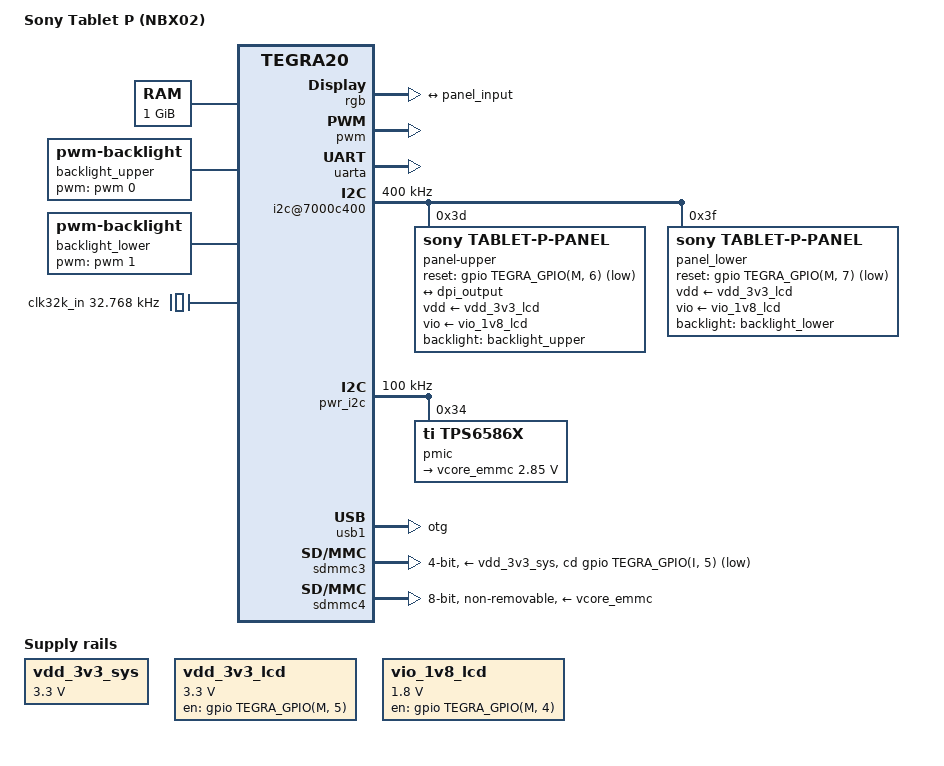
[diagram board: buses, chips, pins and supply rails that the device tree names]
// SPDX-License-Identifier: GPL-2.0
/dts-v1/;

#include <dt-bindings/input/input.h>
#include "tegra20.dtsi"

/ {
        model = "Sony Tablet P (NBX02)";
        compatible = "sony,nbx02", "nvidia,tegra20";

	chosen {
		stdout-path = &uarta;
	};

	aliases {
		i2c0 = &pwr_i2c;

		mmc0 = &sdmmc4; /* eMMC */
		mmc1 = &sdmmc3; /* MicroSD */

		rtc0 = &pmic;
		rtc1 = "/rtc@7000e000";

		usb0 = &usb1;
	};

	memory {
		device_type = "memory";
		reg = <0x00000000 0x40000000>;
	};

	host1x@50000000 {
		dc@54200000 {
			rgb {
				status = "okay";

				port {
					dpi_output: endpoint {
						remote-endpoint = <&panel_input>;
					};
				};
			};
		};
	};

	pwm: pwm@7000a000 {
		status = "okay";
	};

	bsev@6001b000 {
		status = "okay";
	};

	pinmux@70000014 {
		pinctrl-names = "default";
		pinctrl-0 = <&state_default>;

		state_default: pinmux {
			ata {
				nvidia,pins = "ata", "atc", "atd", "ate";
				nvidia,function = "ide";
			};
			atb {
				nvidia,pins = "atb", "gma", "gme";
				nvidia,function = "sdio4";
			};
			cdev1 {
				nvidia,pins = "cdev1";
				nvidia,function = "plla_out";
			};
			cdev2 {
				nvidia,pins = "cdev2";
				nvidia,function = "osc";
			};
			crtp {
				nvidia,pins = "crtp";
				nvidia,function = "crt";
			};
			csus {
				nvidia,pins = "csus";
				nvidia,function = "vi_sensor_clk";
			};
			dap1 {
				nvidia,pins = "dap1";
				nvidia,function = "dap1";
			};
			dap2 {
				nvidia,pins = "dap2";
				nvidia,function = "dap2";
			};
			dap3 {
				nvidia,pins = "dap3";
				nvidia,function = "dap3";
			};
			dap4 {
				nvidia,pins = "dap4";
				nvidia,function = "dap4";
			};
			ddc {
				nvidia,pins = "ddc", "dtb", "dte", "spdi",
					"spdo";
				nvidia,function = "rsvd2";
			};
			dta {
				nvidia,pins = "dta", "dtc", "dtd", "lcsn", "ldc",
					"lm0", "lpp", "lpw1", "lvp0", "lvp1", "spif",
					"uac";
				nvidia,function = "rsvd4";
			};
			dtf {
				nvidia,pins = "dtf";
				nvidia,function = "i2c3";
			};
			gmb {
				nvidia,pins = "gmb", "gmd", "spia", "spib", "spic",
					"spid", "spie";
				nvidia,function = "gmi";
			};
			gmc {
				nvidia,pins = "gmc", "slxc", "slxd";
				nvidia,function = "spi4";
			};
			gpu {
				nvidia,pins = "gpu";
				nvidia,function = "pwm";
			};
			gpu7 {
				nvidia,pins = "gpu7";
				nvidia,function = "rtck";
			};
			gpv {
				nvidia,pins = "gpv", "slxa", "slxk";
				nvidia,function = "pcie";
			};
			hdint {
				nvidia,pins = "hdint";
				nvidia,function = "hdmi";
			};
			i2cp {
				nvidia,pins = "i2cp", "rm";
				nvidia,function = "i2c1";
			};
			irrx {
				nvidia,pins = "irrx", "irtx";
				nvidia,function = "uarta";
			};
			kbca {
				nvidia,pins = "kbca", "kbcb", "kbcc", "kbcd",
					"kbce", "kbcf";
				nvidia,function = "kbc";
			};
			ld0 {
				nvidia,pins = "ld0", "ld1", "ld2", "ld3", "ld4",
					"ld5", "ld6", "ld7", "ld8", "ld9",
					"ld10", "ld11", "ld12", "ld13", "ld14",
					"ld15", "ld16", "ld17", "ldi", "lhp0",
					"lhp1", "lhp2", "lhs", "lpw0", "lpw2",
					"lsc0", "lsc1", "lsck", "lsda", "lsdi",
					"lspi", "lvs";
				nvidia,function = "displaya";
			};
			lm1 {
				nvidia,pins = "lm1";
				nvidia,function = "rsvd3";
			};
			owc {
				nvidia,pins = "owc";
				nvidia,function = "owr";
			};
			pmc {
				nvidia,pins = "pmc";
				nvidia,function = "pwr_on";
			};
			pta {
				nvidia,pins = "pta";
				nvidia,function = "i2c2";
			};
			sdb {
				nvidia,pins = "sdb", "sdc", "sdd";
				nvidia,function = "sdio3";
			};
			sdio1 {
				nvidia,pins = "sdio1";
				nvidia,function = "sdio1";
			};
			spig {
				nvidia,pins = "spig", "spih";
				nvidia,function = "spi2_alt";
			};
			uaa {
				nvidia,pins = "uaa", "uab";
				nvidia,function = "mipi_hs";
			};
			uad {
				nvidia,pins = "uad";
				nvidia,function = "irda";
			};
			uca {
				nvidia,pins = "uca", "ucb";
				nvidia,function = "uartc";
			};
			uda {
				nvidia,pins = "uda";
				nvidia,function = "uartd";
			};
			conf_ata {
				nvidia,pins = "ata", "atb", "atc", "atd",
					"dap1", "dap3", "dap4", "dtb", "dtc",
					"dte", "dtf", "gma", "gmc",
					"gme", "gpu", "gpu7", "gpv", "i2cp",
					"pmc", "pta", "rm", "sdb", "slxd",
					"spdi", "spdo", "uac", "uda";
				nvidia,pull = <TEGRA_PIN_PULL_NONE>;
				nvidia,tristate = <TEGRA_PIN_DISABLE>;
			};
			conf_ate {
				nvidia,pins = "ate", "crtp", "gmb",
					"gmd", "slxc", "slxk";
				nvidia,pull = <TEGRA_PIN_PULL_NONE>;
				nvidia,tristate = <TEGRA_PIN_ENABLE>;
			};
			conf_cdev1 {
				nvidia,pins = "cdev1", "cdev2", "csus", "dap2",
					"dtd", "kbcb", "ld0", "ld1", "ld2", "ld3",
					"ld4", "ld5", "ld6", "ld7", "ld8", "ld9",
					"ld10", "ld11", "ld12", "ld13", "ld14",
					"ld15", "ld16", "ld17", "ldi", "lhp0",
					"lhp1", "lhp2", "lpp", "lvp1", "ck32",
					"ddrc", "pmca", "pmcb",	"pmcc", "pmcd",
					"xm2c", "xm2d";
				nvidia,pull = <TEGRA_PIN_PULL_DOWN>;
				nvidia,tristate = <TEGRA_PIN_DISABLE>;
			};
			conf_crtp {
				nvidia,pins = "spig", "spih", "hdint",
					"lcsn", "ldc", "lm1", "lpw1", "lsck",
					"lsda", "lsdi", "lvp0", "owc", "spic",
					"spie";
				nvidia,pull = <TEGRA_PIN_PULL_UP>;
				nvidia,tristate = <TEGRA_PIN_ENABLE>;
			};
			conf_dte {
				nvidia,pins = "spif", "spia", "spib", "spid";
				nvidia,pull = <TEGRA_PIN_PULL_DOWN>;
				nvidia,tristate = <TEGRA_PIN_ENABLE>;
			};
			conf_kbca {
				nvidia,pins = "ddc", "dta", "irrx", "irtx",
					"kbca", "kbcc", "kbcd", "kbce", "kbcf",
					"sdio1", "lhs", "lm0", "lpw0", "lpw2",
					"lsc0", "lsc1", "lspi", "lvs", "sdc",
					"sdd", "slxa", "uaa", "uab", "uad",
					"uca", "ucb", "pmce";
				nvidia,pull = <TEGRA_PIN_PULL_UP>;
				nvidia,tristate = <TEGRA_PIN_DISABLE>;
			};
			drive_ao1 {
				nvidia,pins = "drive_ao1", "drive_ao2", "drive_dbg", "drive_sdmmc2",
					"drive_vi1", "drive_vi2",  "drive_ddc";
				nvidia,pull-up-strength = <31>;
				nvidia,pull-down-strength = <31>;
				nvidia,schmitt = <TEGRA_PIN_ENABLE>;
				nvidia,high-speed-mode = <TEGRA_PIN_DISABLE>;
				nvidia,low-power-mode = <TEGRA_PIN_LP_DRIVE_DIV_1>;
				nvidia,slew-rate-rising = <TEGRA_PIN_SLEW_RATE_SLOWEST>;
				nvidia,slew-rate-falling = <TEGRA_PIN_SLEW_RATE_SLOWEST>;
			};
			drive_at1 {
				nvidia,pins = "drive_at1", "drive_at2", "drive_cdev2",
					"drive_csus", "drive_lcd2", "drive_sdio1",
					"drive_gma", "drive_gme";
				nvidia,pull-up-strength = <0>;
				nvidia,pull-down-strength = <0>;
				nvidia,schmitt = <TEGRA_PIN_ENABLE>;
				nvidia,high-speed-mode = <TEGRA_PIN_DISABLE>;
				nvidia,low-power-mode = <TEGRA_PIN_LP_DRIVE_DIV_1>;
				nvidia,slew-rate-rising = <TEGRA_PIN_SLEW_RATE_SLOWEST>;
				nvidia,slew-rate-falling = <TEGRA_PIN_SLEW_RATE_SLOWEST>;
			};
			drive_cdev1 {
				nvidia,pins = "drive_cdev1", "drive_dap1", "drive_dap3", "drive_dap4";
				nvidia,pull-up-strength = <0>;
				nvidia,pull-down-strength = <0>;
				nvidia,schmitt = <TEGRA_PIN_ENABLE>;
				nvidia,high-speed-mode = <TEGRA_PIN_DISABLE>;
				nvidia,low-power-mode = <TEGRA_PIN_LP_DRIVE_DIV_8>;
				nvidia,slew-rate-rising = <TEGRA_PIN_SLEW_RATE_SLOWEST>;
				nvidia,slew-rate-falling = <TEGRA_PIN_SLEW_RATE_SLOWEST>;
			};
			drive_dap2 {
				nvidia,pins = "drive_dap2", "drive_lcd1", "drive_spi", "drive_uaa",
					"drive_uab", "drive_uart2", "drive_uart3", "drive_crt",
					"drive_gmb", "drive_gmc", "drive_gmd", "drive_owr", "drive_uad";
				nvidia,pull-up-strength = <22>;
				nvidia,pull-down-strength = <18>;
				nvidia,schmitt = <TEGRA_PIN_DISABLE>;
				nvidia,high-speed-mode = <TEGRA_PIN_DISABLE>;
				nvidia,low-power-mode = <TEGRA_PIN_LP_DRIVE_DIV_1>;
				nvidia,slew-rate-rising = <TEGRA_PIN_SLEW_RATE_SLOWEST>;
				nvidia,slew-rate-falling = <TEGRA_PIN_SLEW_RATE_SLOWEST>;
			};
			drive_sdmmc3 {
				nvidia,pins = "drive_sdmmc3";
				nvidia,pull-up-strength = <4>;
				nvidia,pull-down-strength = <15>;
				nvidia,schmitt = <TEGRA_PIN_ENABLE>;
				nvidia,high-speed-mode = <TEGRA_PIN_DISABLE>;
				nvidia,low-power-mode = <TEGRA_PIN_LP_DRIVE_DIV_1>;
				nvidia,slew-rate-rising = <TEGRA_PIN_SLEW_RATE_SLOWEST>;
				nvidia,slew-rate-falling = <TEGRA_PIN_SLEW_RATE_SLOWEST>;
			};
			drive_xm2a {
				nvidia,pins = "drive_xm2a", "drive_xm2clk";
				nvidia,pull-up-strength = <31>;
				nvidia,pull-down-strength = <28>;
				nvidia,schmitt = <TEGRA_PIN_DISABLE>;
				nvidia,high-speed-mode = <TEGRA_PIN_DISABLE>;
				nvidia,low-power-mode = <TEGRA_PIN_LP_DRIVE_DIV_8>;
				nvidia,slew-rate-rising = <TEGRA_PIN_SLEW_RATE_SLOWEST>;
				nvidia,slew-rate-falling = <TEGRA_PIN_SLEW_RATE_FAST>;
			};
			drive_xm2c {
				nvidia,pins = "drive_xm2c", "drive_xm2d";
				nvidia,pull-up-strength = <31>;
				nvidia,pull-down-strength = <31>;
				nvidia,schmitt = <TEGRA_PIN_ENABLE>;
				nvidia,high-speed-mode = <TEGRA_PIN_DISABLE>;
				nvidia,low-power-mode = <TEGRA_PIN_LP_DRIVE_DIV_1>;
				nvidia,slew-rate-rising = <TEGRA_PIN_SLEW_RATE_SLOWEST>;
				nvidia,slew-rate-falling = <TEGRA_PIN_SLEW_RATE_FAST>;
			};
			drive_memcomp {
				nvidia,pins = "drive_memcomp";
				nvidia,pull-up-strength = <31>;
				nvidia,pull-down-strength = <31>;
				nvidia,schmitt = <TEGRA_PIN_ENABLE>;
				nvidia,high-speed-mode = <TEGRA_PIN_DISABLE>;
				nvidia,low-power-mode = <TEGRA_PIN_LP_DRIVE_DIV_8>;
				nvidia,slew-rate-rising = <TEGRA_PIN_SLEW_RATE_FASTEST>;
				nvidia,slew-rate-falling = <TEGRA_PIN_SLEW_RATE_FASTEST>;
			};
		};
	};

	uarta: serial@70006000 {
		status = "okay";
	};

	i2c@7000c400 {
		status = "okay";
		clock-frequency = <400000>;

		panel-upper@3d {
			compatible = "sony,tablet-p-panel";
			reg = <0x3d>;

			link2 = <&panel_lower>;

			reset-gpios = <&gpio TEGRA_GPIO(M, 6) GPIO_ACTIVE_LOW>;

			vdd-supply = <&vdd_3v3_lcd>;
			vio-supply = <&vio_1v8_lcd>;

			backlight = <&backlight_upper>;

			port {
				panel_input: endpoint {
					remote-endpoint = <&dpi_output>;
				};
			};
		};

		panel_lower: panel-lower@3f {
			compatible = "sony,tablet-p-panel";
			reg = <0x3f>;

			reset-gpios = <&gpio TEGRA_GPIO(M, 7) GPIO_ACTIVE_LOW>;

			vdd-supply = <&vdd_3v3_lcd>;
			vio-supply = <&vio_1v8_lcd>;

			backlight = <&backlight_lower>;
		};

	};

	pwr_i2c: i2c@7000d000 {
		status = "okay";
		clock-frequency = <100000>;

		pmic: tps6586x@34 {
			compatible = "ti,tps6586x";
			reg = <0x34>;
			interrupts = <GIC_SPI 86 IRQ_TYPE_LEVEL_HIGH>;

			ti,system-power-controller;

			#gpio-cells = <2>;
			gpio-controller;

			regulators {
				vcore_emmc: ldo5 {
					regulator-name = "vdd_ldo5,vcore_mmc";
					regulator-min-microvolt = <2850000>;
					regulator-max-microvolt = <2850000>;
				};
			};
		};
	};

	usb1: usb@c5000000 {
		status = "okay";
		dr_mode = "otg";
	};

	usb-phy@c5000000 {
		status = "okay";
		nvidia,xcvr-setup-use-fuses;
		nvidia,xcvr-lsfslew = <2>;
		nvidia,xcvr-lsrslew = <2>;
	};

	sdmmc3: sdhci@c8000400 {
		status = "okay";
		bus-width = <4>;

		cd-gpios = <&gpio TEGRA_GPIO(I, 5) GPIO_ACTIVE_LOW>;
		power-gpios = <&gpio TEGRA_GPIO(D, 1) GPIO_ACTIVE_HIGH>;

		vmmc-supply = <&vdd_3v3_sys>;
		vqmmc-supply = <&vdd_3v3_sys>;
	};

	sdmmc4: sdhci@c8000600 {
		status = "okay";
		bus-width = <8>;
		non-removable;

		vmmc-supply = <&vcore_emmc>;
		vqmmc-supply = <&vdd_3v3_sys>;
	};

	backlight_upper: backlight-upper {
		compatible = "pwm-backlight";

		pwms = <&pwm 0 2777777>;

		brightness-levels = <1 35 70 105 140 175 210 255>;
		default-brightness-level = <5>;
	};

	backlight_lower: backlight-lower {
		compatible = "pwm-backlight";

		pwms = <&pwm 1 2777777>;

		brightness-levels = <1 35 70 105 140 175 210 255>;
		default-brightness-level = <5>;
	};

	/* PMIC has a built-in 32KHz oscillator which is used by PMC */
	clk32k_in: clock-32k-in {
		compatible = "fixed-clock";
		#clock-cells = <0>;
		clock-frequency = <32768>;
		clock-output-names = "tps658621-out32k";
	};

	vdd_3v3_sys: regulator-3v3 {
		compatible = "regulator-fixed";
		regulator-name = "vdd_3v3_vs";
		regulator-min-microvolt = <3300000>;
		regulator-max-microvolt = <3300000>;
		regulator-always-on;
	};

	vdd_3v3_lcd: regulator-lcd3v3 {
		compatible = "regulator-fixed";
		regulator-name = "vdd_3v3_lcd";
		regulator-min-microvolt = <3300000>;
		regulator-max-microvolt = <3300000>;
		gpio = <&gpio TEGRA_GPIO(M, 5) GPIO_ACTIVE_HIGH>;
		enable-active-high;
	};

	vio_1v8_lcd: regulator-lcd1v8 {
		compatible = "regulator-fixed";
		regulator-name = "vio_1v8_lcd";
		regulator-min-microvolt = <1800000>;
		regulator-max-microvolt = <1800000>;
		gpio = <&gpio TEGRA_GPIO(M, 4) GPIO_ACTIVE_HIGH>;
		enable-active-high;
	};
};
